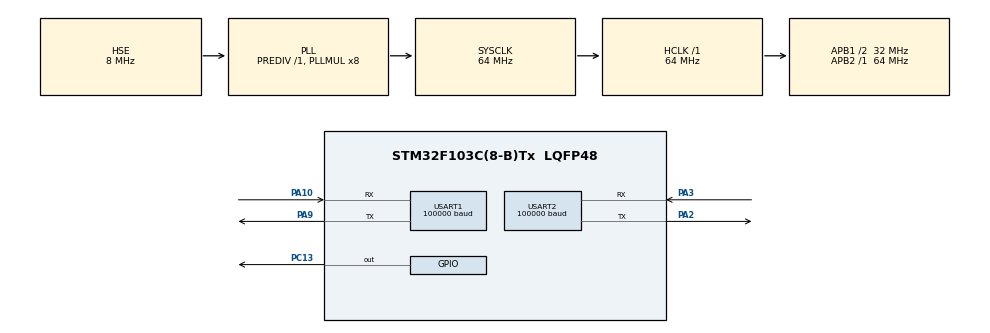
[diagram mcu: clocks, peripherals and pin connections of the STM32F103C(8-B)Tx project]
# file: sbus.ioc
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Dma.Request0=USART1_RX
Dma.Request1=USART1_TX
Dma.Request2=USART2_TX
Dma.USART1_RX.0.Direction=DMA_PERIPH_TO_MEMORY
Dma.USART1_RX.0.Instance=DMA1_Channel5
Dma.USART1_RX.0.MemDataAlignment=DMA_MDATAALIGN_BYTE
Dma.USART1_RX.0.MemInc=DMA_MINC_ENABLE
Dma.USART1_RX.0.Mode=DMA_CIRCULAR
Dma.USART1_RX.0.PeriphDataAlignment=DMA_PDATAALIGN_BYTE
Dma.USART1_RX.0.PeriphInc=DMA_PINC_DISABLE
Dma.USART1_RX.0.Priority=DMA_PRIORITY_LOW
Dma.USART1_TX.1.Direction=DMA_MEMORY_TO_PERIPH
Dma.USART1_TX.1.Instance=DMA1_Channel4
Dma.USART1_TX.1.MemDataAlignment=DMA_MDATAALIGN_BYTE
Dma.USART1_TX.1.MemInc=DMA_MINC_ENABLE
Dma.USART1_TX.1.Mode=DMA_CIRCULAR
Dma.USART1_TX.1.PeriphDataAlignment=DMA_PDATAALIGN_BYTE
Dma.USART1_TX.1.PeriphInc=DMA_PINC_DISABLE
Dma.USART1_TX.1.Priority=DMA_PRIORITY_LOW
Dma.USART2_TX.2.Direction=DMA_MEMORY_TO_PERIPH
Dma.USART2_TX.2.Instance=DMA1_Channel7
Dma.USART2_TX.2.MemDataAlignment=DMA_MDATAALIGN_BYTE
Dma.USART2_TX.2.MemInc=DMA_MINC_ENABLE
Dma.USART2_TX.2.Mode=DMA_CIRCULAR
Dma.USART2_TX.2.PeriphDataAlignment=DMA_PDATAALIGN_BYTE
Dma.USART2_TX.2.PeriphInc=DMA_PINC_DISABLE
Dma.USART2_TX.2.Priority=DMA_PRIORITY_LOW
FREERTOS.BinarySemaphores01=_sbustx,Dynamic,NULL
FREERTOS.Tasks01=lloop1,0,128,loop1,Default,NULL,Dynamic,NULL,NULL;sbustx,-3,128,Do_sbustx,Default,NULL,Dynamic,NULL,NULL
FREERTOS.configTOTAL_HEAP_SIZE=5000
FREERTOS.configUSE_TIMERS=1
Mcu.Family=STM32F1
Mcu.Name=STM32F103C(8-B)Tx
Mcu.Package=LQFP48
NVIC.DMA1_Channel4_IRQn=true\:5\:0\:false\:false\:true\:true\:false
NVIC.DMA1_Channel5_IRQn=true\:5\:0\:false\:false\:true\:true\:false
NVIC.DMA1_Channel7_IRQn=true\:5\:0\:false\:false\:true\:true\:false
NVIC.PriorityGroup=NVIC_PRIORITYGROUP_4
NVIC.TIM1_UP_IRQn=true\:0\:0\:false\:false\:true\:false\:false
NVIC.TimeBase=TIM1_UP_IRQn
NVIC.TimeBaseIP=TIM1
PA10.Mode=Asynchronous
PA10.Signal=USART1_RX
PA13.Mode=Serial_Wire
PA13.Signal=SYS_JTMS-SWDIO
PA14.Mode=Serial_Wire
PA14.Signal=SYS_JTCK-SWCLK
PA2.Mode=Asynchronous
PA2.Signal=USART2_TX
PA3.Mode=Asynchronous
PA3.Signal=USART2_RX
PA9.Mode=Asynchronous
PA9.Signal=USART1_TX
PC13-TAMPER-RTC.PinState=GPIO_PIN_SET
PC13-TAMPER-RTC.Signal=GPIO_Output
PC14-OSC32_IN.Mode=LSE-External-Oscillator
PC14-OSC32_IN.Signal=RCC_OSC32_IN
PC15-OSC32_OUT.Mode=LSE-External-Oscillator
PC15-OSC32_OUT.Signal=RCC_OSC32_OUT
PD0-OSC_IN.Mode=HSE-External-Oscillator
PD0-OSC_IN.Signal=RCC_OSC_IN
PD1-OSC_OUT.Mode=HSE-External-Oscillator
PD1-OSC_OUT.Signal=RCC_OSC_OUT
ProjectManager.HeapSize=0x200
ProjectManager.StackSize=0x400
ProjectManager.TargetToolchain=MDK-ARM V5
RCC.AHBFreq_Value=64000000
RCC.APB1CLKDivider=RCC_HCLK_DIV2
RCC.APB1Freq_Value=32000000
RCC.APB1TimFreq_Value=64000000
RCC.APB2Freq_Value=64000000
RCC.APB2TimFreq_Value=64000000
RCC.HCLKFreq_Value=64000000
RCC.PLLMUL=RCC_PLL_MUL8
RCC.PLLSourceVirtual=RCC_PLLSOURCE_HSE
RCC.SYSCLKFreq_VALUE=64000000
RCC.SYSCLKSource=RCC_SYSCLKSOURCE_PLLCLK
RCC.USBFreq_Value=64000000
USART1.BaudRate=100000
USART1.Parity=PARITY_EVEN
USART1.StopBits=STOPBITS_2
USART1.VirtualMode=VM_ASYNC
USART2.BaudRate=100000
USART2.Parity=PARITY_EVEN
USART2.StopBits=STOPBITS_2
USART2.VirtualMode=VM_ASYNC
USART2.WordLength=WORDLENGTH_9B
VP_FREERTOS_VS_ENABLE.Mode=Enabled
VP_SYS_VS_tim1.Mode=TIM1
board=custom

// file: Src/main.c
/* USER CODE BEGIN Header */
/**
  ******************************************************************************
  * @file           : main.c
  * @brief          : Main program body
  ******************************************************************************
  * This notice applies to any and all portions of this file
  * that are not between comment pairs USER CODE BEGIN and
  * USER CODE END. Other portions of this file, whether
  * inserted by the user or by software development tools
  * are owned by their respective copyright owners.
  *
  * Copyright (c) 2019 STMicroelectronics International N.V.
  * All rights reserved.
  *
  * Redistribution and use in source and binary forms, with or without
  * modification, are permitted, provided that the following conditions are met:
  *
  * 1. Redistribution of source code must retain the above copyright notice,
  *    this list of conditions and the following disclaimer.
  * 2. Redistributions in binary form must reproduce the above copyright notice,
  *    this list of conditions and the following disclaimer in the documentation
  *    and/or other materials provided with the distribution.
  * 3. Neither the name of STMicroelectronics nor the names of other
  *    contributors to this software may be used to endorse or promote products
  *    derived from this software without specific written permission.
  * 4. This software, including modifications and/or derivative works of this
  *    software, must execute solely and exclusively on microcontroller or
  *    microprocessor devices manufactured by or for STMicroelectronics.
  * 5. Redistribution and use of this software other than as permitted under
  *    this license is void and will automatically terminate your rights under
  *    this license.
  *
  * THIS SOFTWARE IS PROVIDED BY STMICROELECTRONICS AND CONTRIBUTORS "AS IS"
  * AND ANY EXPRESS, IMPLIED OR STATUTORY WARRANTIES, INCLUDING, BUT NOT
  * LIMITED TO, THE IMPLIED WARRANTIES OF MERCHANTABILITY, FITNESS FOR A
  * PARTICULAR PURPOSE AND NON-INFRINGEMENT OF THIRD PARTY INTELLECTUAL PROPERTY
  * RIGHTS ARE DISCLAIMED TO THE FULLEST EXTENT PERMITTED BY LAW. IN NO EVENT
  * SHALL STMICROELECTRONICS OR CONTRIBUTORS BE LIABLE FOR ANY DIRECT, INDIRECT,
  * INCIDENTAL, SPECIAL, EXEMPLARY, OR CONSEQUENTIAL DAMAGES (INCLUDING, BUT NOT
  * LIMITED TO, PROCUREMENT OF SUBSTITUTE GOODS OR SERVICES; LOSS OF USE, DATA,
  * OR PROFITS; OR BUSINESS INTERRUPTION) HOWEVER CAUSED AND ON ANY THEORY OF
  * LIABILITY, WHETHER IN CONTRACT, STRICT LIABILITY, OR TORT (INCLUDING
  * NEGLIGENCE OR OTHERWISE) ARISING IN ANY WAY OUT OF THE USE OF THIS SOFTWARE,
  * EVEN IF ADVISED OF THE POSSIBILITY OF SUCH DAMAGE.
  *
  ******************************************************************************
  */
/* USER CODE END Header */

#include "main.h"
#include "cmsis_os.h"
#include "dma.h"
#include "usart.h"
#include "gpio.h"

/* USER CODE BEGIN Includes */
#include "stm32f1xx_hal.h"
#include "sbus.h"

/* USER CODE END Includes */

/* USER CODE BEGIN PTD */

//extern uint8_t data[25];

#ifdef TEST22
extern uint8_t data[22];
#endif

#ifdef TEST23
extern uint8_t data[23];
#endif

#ifdef TEST25
extern uint8_t data[25];
#endif
extern uint8_t txdata[25];

/* USER CODE END PTD */

void SystemClock_Config(void);
void MX_FREERTOS_Init(void);

int main(void)
{

  /* MCU Configuration--------------------------------------------------------*/

  /* Reset of all peripherals, Initializes the Flash interface and the Systick. */
  HAL_Init();

  /* Configure the system clock */
  SystemClock_Config();

  /* Initialize all configured peripherals */
  MX_GPIO_Init();
  MX_DMA_Init();
  MX_USART1_UART_Init();
  MX_USART2_UART_Init();
  /* USER CODE BEGIN 2 */

//  HAL_UART_Receive_DMA(&huart1, data, 25u);
#ifdef TEST22
  HAL_UART_Receive_DMA(&huart1, data, 22u);
#endif

#ifdef TEST23
  HAL_UART_Receive_DMA(&huart1, data, 23u);
#endif

#ifdef TEST25
  HAL_UART_Receive_DMA(&huart1, data, 25u);
#endif
//HAL_UART_Transmit_IT(&huart2, txdata,  25u);
HAL_UART_Transmit_DMA(&huart2, txdata,  25u);
  /* USER CODE END 2 */

  /* Call init function for freertos objects (in freertos.c) */
  MX_FREERTOS_Init();

  /* Start scheduler */
  osKernelStart();

  /* We should never get here as control is now taken by the scheduler */

  /* Infinite loop */
  while (1)
  {

  }
}

void SystemClock_Config(void)
{
  RCC_OscInitTypeDef RCC_OscInitStruct = {0};
  RCC_ClkInitTypeDef RCC_ClkInitStruct = {0};

  /**Initializes the CPU, AHB and APB busses clocks
  */
  RCC_OscInitStruct.OscillatorType = RCC_OSCILLATORTYPE_HSE;
  RCC_OscInitStruct.HSEState = RCC_HSE_ON;
  RCC_OscInitStruct.HSEPredivValue = RCC_HSE_PREDIV_DIV1;
  RCC_OscInitStruct.HSIState = RCC_HSI_ON;
  RCC_OscInitStruct.PLL.PLLState = RCC_PLL_ON;
  RCC_OscInitStruct.PLL.PLLSource = RCC_PLLSOURCE_HSE;
  RCC_OscInitStruct.PLL.PLLMUL = RCC_PLL_MUL8;
  if (HAL_RCC_OscConfig(&RCC_OscInitStruct) != HAL_OK)
  {
    Error_Handler();
  }
  /**Initializes the CPU, AHB and APB busses clocks
  */
  RCC_ClkInitStruct.ClockType = RCC_CLOCKTYPE_HCLK|RCC_CLOCKTYPE_SYSCLK
                              |RCC_CLOCKTYPE_PCLK1|RCC_CLOCKTYPE_PCLK2;
  RCC_ClkInitStruct.SYSCLKSource = RCC_SYSCLKSOURCE_PLLCLK;
  RCC_ClkInitStruct.AHBCLKDivider = RCC_SYSCLK_DIV1;
  RCC_ClkInitStruct.APB1CLKDivider = RCC_HCLK_DIV2;
  RCC_ClkInitStruct.APB2CLKDivider = RCC_HCLK_DIV1;

  if (HAL_RCC_ClockConfig(&RCC_ClkInitStruct, FLASH_LATENCY_2) != HAL_OK)
  {
    Error_Handler();
  }
}

void HAL_TIM_PeriodElapsedCallback(TIM_HandleTypeDef *htim)
{
  if (htim->Instance == TIM1) {
    HAL_IncTick();
  }
}

void Error_Handler(void)
{
}

/************************ (C) COPYRIGHT STMicroelectronics *****END OF FILE****/

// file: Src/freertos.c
/* USER CODE BEGIN Header */
/**
  ******************************************************************************
  * File Name          : freertos.c
  * Description        : Code for freertos applications
  ******************************************************************************
  * This notice applies to any and all portions of this file
  * that are not between comment pairs USER CODE BEGIN and
  * USER CODE END. Other portions of this file, whether
  * inserted by the user or by software development tools
  * are owned by their respective copyright owners.
  *
  * Copyright (c) 2019 STMicroelectronics International N.V.
  * All rights reserved.
  *
  * Redistribution and use in source and binary forms, with or without
  * modification, are permitted, provided that the following conditions are met:
  *
  * 1. Redistribution of source code must retain the above copyright notice,
  *    this list of conditions and the following disclaimer.
  * 2. Redistributions in binary form must reproduce the above copyright notice,
  *    this list of conditions and the following disclaimer in the documentation
  *    and/or other materials provided with the distribution.
  * 3. Neither the name of STMicroelectronics nor the names of other
  *    contributors to this software may be used to endorse or promote products
  *    derived from this software without specific written permission.
  * 4. This software, including modifications and/or derivative works of this
  *    software, must execute solely and exclusively on microcontroller or
  *    microprocessor devices manufactured by or for STMicroelectronics.
  * 5. Redistribution and use of this software other than as permitted under
  *    this license is void and will automatically terminate your rights under
  *    this license.
  *
  * THIS SOFTWARE IS PROVIDED BY STMICROELECTRONICS AND CONTRIBUTORS "AS IS"
  * AND ANY EXPRESS, IMPLIED OR STATUTORY WARRANTIES, INCLUDING, BUT NOT
  * LIMITED TO, THE IMPLIED WARRANTIES OF MERCHANTABILITY, FITNESS FOR A
  * PARTICULAR PURPOSE AND NON-INFRINGEMENT OF THIRD PARTY INTELLECTUAL PROPERTY
  * RIGHTS ARE DISCLAIMED TO THE FULLEST EXTENT PERMITTED BY LAW. IN NO EVENT
  * SHALL STMICROELECTRONICS OR CONTRIBUTORS BE LIABLE FOR ANY DIRECT, INDIRECT,
  * INCIDENTAL, SPECIAL, EXEMPLARY, OR CONSEQUENTIAL DAMAGES (INCLUDING, BUT NOT
  * LIMITED TO, PROCUREMENT OF SUBSTITUTE GOODS OR SERVICES; LOSS OF USE, DATA,
  * OR PROFITS; OR BUSINESS INTERRUPTION) HOWEVER CAUSED AND ON ANY THEORY OF
  * LIABILITY, WHETHER IN CONTRACT, STRICT LIABILITY, OR TORT (INCLUDING
  * NEGLIGENCE OR OTHERWISE) ARISING IN ANY WAY OUT OF THE USE OF THIS SOFTWARE,
  * EVEN IF ADVISED OF THE POSSIBILITY OF SUCH DAMAGE.
  *
  ******************************************************************************
  */
/* USER CODE END Header */

#include "FreeRTOS.h"
#include "task.h"
#include "main.h"
#include "cmsis_os.h"

/* USER CODE BEGIN Includes */
#include "stm32f1xx_hal.h"
#include "sbus.h"
#include "usart.h"

/* USER CODE END Includes */

/* USER CODE BEGIN PTD */
//extern uint8_t data[25];
extern uint8_t txdata[25];
//extern uint16_t rcdata;
#ifdef TEST22
extern uint8_t data[22];
#endif

#ifdef TEST23
extern uint8_t data[23];
#endif

#ifdef TEST25
extern uint8_t data[25];
#endif

/* USER CODE END PTD */

osThreadId lloop1Handle;
osThreadId sbustxHandle;
osSemaphoreId _sbustxHandle;

void loop1(void const * argument);
void Do_sbustx(void const * argument);

void MX_FREERTOS_Init(void); /* (MISRA C 2004 rule 8.1) */

void MX_FREERTOS_Init(void) {

  /* Create the semaphores(s) */
  /* definition and creation of _sbustx */
  osSemaphoreDef(_sbustx);
  _sbustxHandle = osSemaphoreCreate(osSemaphore(_sbustx), 1);

  /* Create the thread(s) */
  /* definition and creation of lloop1 */
  osThreadDef(lloop1, loop1, osPriorityNormal, 0, 128);
  lloop1Handle = osThreadCreate(osThread(lloop1), NULL);

  /* definition and creation of sbustx */
  osThreadDef(sbustx, Do_sbustx, osPriorityIdle, 0, 128);
  sbustxHandle = osThreadCreate(osThread(sbustx), NULL);

}

void loop1(void const * argument)
{

  /* USER CODE BEGIN loop1 */
  /* Infinite loop */
  for(;;)
  {
//      HAL_GPIO_TogglePin(GPIOC, GPIO_PIN_13);

	  osDelay(100);
  }
  /* USER CODE END loop1 */
}

void Do_sbustx(void const * argument)
{
  /* USER CODE BEGIN Do_sbustx */
  /* Infinite loop */
osSemaphoreWait(_sbustxHandle, 1);
//HAL_UART_Transmit_IT(&huart2,txdata,SBUS_FRAME_LENGH);

//	#ifdef UART1_
//    HAL_UART_Transmit(&huart1,txdata,SBUS_FRAME_LENGH,10);
//	#endif
//
//	#ifdef UART1_IT
//	HAL_UART_Transmit_IT(&huart1,txdata,SBUS_FRAME_LENGH);
//	#endif
//
//	#ifdef UART1_DMA
//    HAL_UART_Transmit_DMA(&huart1,txdata,SBUS_FRAME_LENGH);
//
//	#endif
//
//	#ifdef UART2_
//	HAL_UART_Transmit(&huart2,txdata,SBUS_FRAME_LENGH,10);

//	#endif
//
//	#ifdef UART2_IT
//	HAL_UART_Transmit_IT(&huart2,txdata,SBUS_FRAME_LENGH);
//	#endif
//
//	#ifdef UART1_DMA
//    HAL_UART_Transmit_DMA(&huart2,txdata,SBUS_FRAME_LENGH);
//	#endif
//

	for(;;)
  {
//	if ( HAL_UART_Transmit_IT(&huart2,txdata,SBUS_FRAME_LENGH)==HAL_BUSY)
//{
//	 HAL_GPIO_TogglePin(GPIOC, GPIO_PIN_13);
// }

// if (HAL_UART_Transmit_DMA(&huart2,txdata,SBUS_FRAME_LENGH)==HAL_BUSY)
// {
//	 HAL_GPIO_TogglePin(GPIOC, GPIO_PIN_13);
// }

	  osDelay(1);
  }
//
//
//	  HAL_UART_Transmit_IT(&huart2,txdata,SBUS_FRAME_LENGH);
//	  if ( HAL_UART_Transmit_IT(&huart2,txdata,SBUS_FRAME_LENGH)==HAL_BUSY)
//{
//
// }
  /* USER CODE END Do_sbustx */
}

/* USER CODE BEGIN Application */

void HAL_UART_RxCpltCallback (UART_HandleTypeDef *huart)
{
	if(huart == &huart1)
	{
//		HAL_UART_Receive_DMA(&huart1, data, 25u);
//	HAL_GPIO_TogglePin(GPIOC, GPIO_PIN_13);

#ifdef TEST22
  HAL_UART_Receive_DMA(&huart1, data, 22u);
#endif

#ifdef TEST23
  HAL_UART_Receive_DMA(&huart1, data, 23u);
#endif

#ifdef TEST25
  HAL_UART_Receive_DMA(&huart1, data, 25u);
#endif

		RXEncoder();
		TXEncoder();
        osSemaphoreRelease(_sbustxHandle);

	#ifdef UART1_
    HAL_UART_Transmit(&huart1,txdata,SBUS_FRAME_LENGH,10);
	#endif

	#ifdef UART1_IT
	HAL_UART_Transmit_IT(&huart1,txdata,SBUS_FRAME_LENGH);
	#endif

	#ifdef UART1_DMA
    HAL_UART_Transmit_DMA(&huart1,txdata,SBUS_FRAME_LENGH);

	#endif

	#ifdef UART2_
	HAL_UART_Transmit(&huart2,txdata,SBUS_FRAME_LENGH,10);

	#endif

	#ifdef UART2_IT
	HAL_UART_Transmit_IT(&huart2,txdata,SBUS_FRAME_LENGH);
	#endif

	#ifdef UART2_DMA
//    HAL_UART_Transmit_DMA(&huart2,txdata,sizeof(txdata));
    HAL_UART_Transmit_DMA(&huart2,txdata,sizeof(txdata));

	#endif

//		HAL_UART_Transmit_IT(&huart2,txdata,SBUS_FRAME_LENGH);

  }

}

/* USER CODE END Application */

/************************ (C) COPYRIGHT STMicroelectronics *****END OF FILE****/
